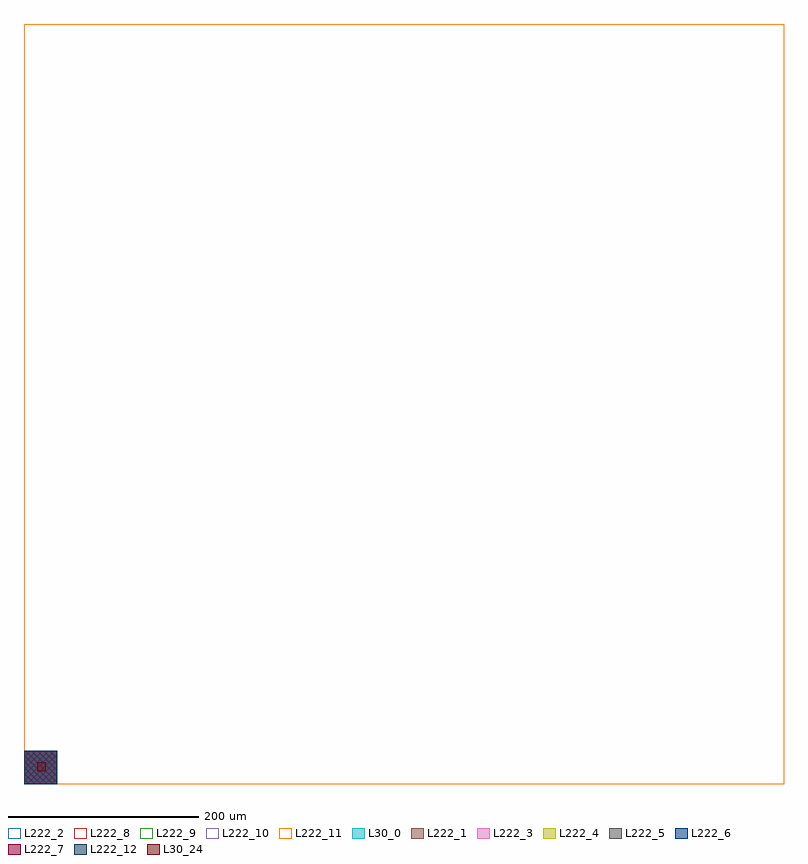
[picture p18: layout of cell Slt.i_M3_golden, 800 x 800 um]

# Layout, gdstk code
import gdstk
lib = gdstk.Library(unit=1e-6, precision=1e-09)
def R(c, l, rs):  # rectangles x0, y0, x1, y1
    for r in rs: c.add(gdstk.rectangle(r[:2], r[2:], *l))
L30_0 = (30, 0)
L30_24 = (30, 24)
L222_1 = (222, 1)
L222_2 = (222, 2)
L222_3 = (222, 3)
L222_4 = (222, 4)
L222_5 = (222, 5)
L222_6 = (222, 6)
L222_7 = (222, 7)
L222_8 = (222, 8)
L222_9 = (222, 9)
L222_10 = (222, 10)
L222_11 = (222, 11)
L222_12 = (222, 12)

slt_i_m3_golden = lib.new_cell('Slt.i_M3_golden')
R(slt_i_m3_golden, L30_0, [(0,0,35.1,35.1)])
R(slt_i_m3_golden, L30_24, [(13.905,13.635,22.905,22.635)])
R(slt_i_m3_golden, L222_1, [(0,0,35.1,35.1)])
R(slt_i_m3_golden, L222_2, [(0,0,800,800)])
R(slt_i_m3_golden, L222_3, [(0,0,35.1,35.1)])
R(slt_i_m3_golden, L222_4, [(0,0,35.1,35.1)])
R(slt_i_m3_golden, L222_5, [(0,0,35.1,35.1)])
R(slt_i_m3_golden, L222_6, [(0,0,35.1,35.1)])
R(slt_i_m3_golden, L222_7, [(0,0,35.1,35.1)])
R(slt_i_m3_golden, L222_8, [(0,0,800,800)])
R(slt_i_m3_golden, L222_9, [(0,0,800,800)])
R(slt_i_m3_golden, L222_10, [(0,0,800,800)])
R(slt_i_m3_golden, L222_11, [(0,0,800,800)])
R(slt_i_m3_golden, L222_12, [(0,0,35.1,35.1)])

lib.write_gds('Slt.i_M3_golden.gds')
